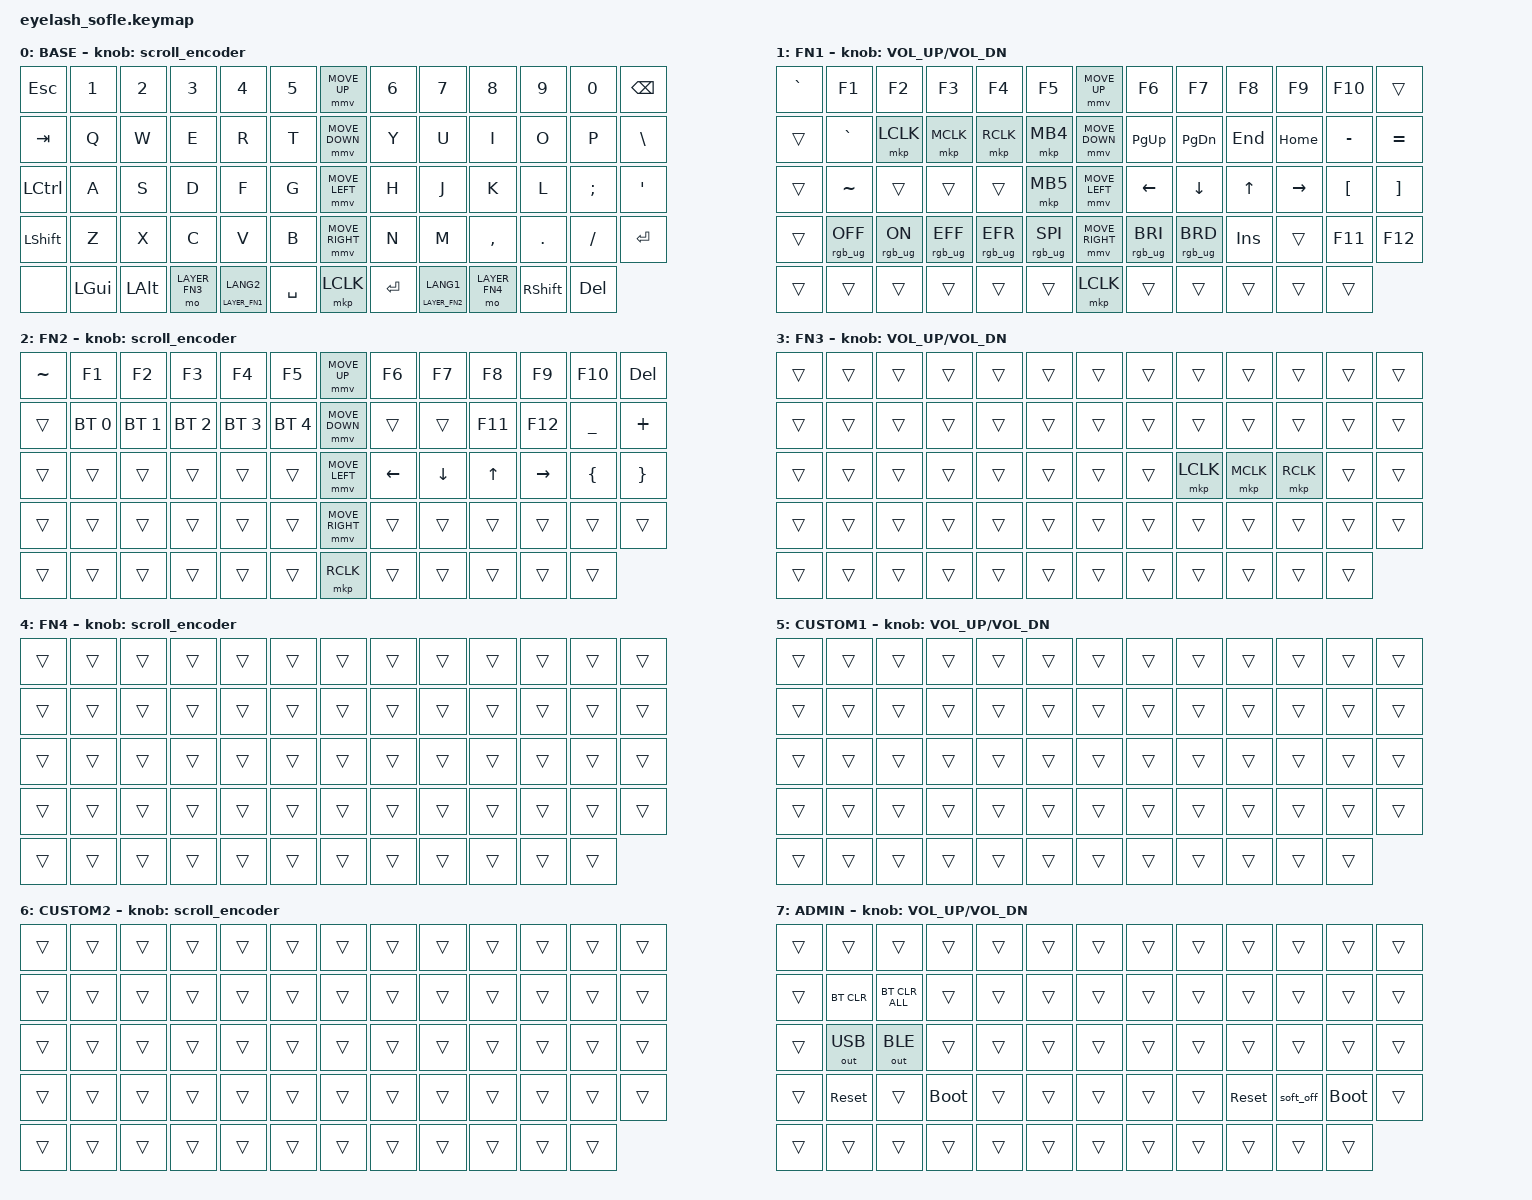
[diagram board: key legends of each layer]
#define ZMK_POINTING_DEFAULT_MOVE_VAL 1200  // 600
#define ZMK_POINTING_DEFAULT_SCRL_VAL 25   // 10

#define LAYER_BASE     0
#define LAYER_FN1      1
#define LAYER_FN2      2
#define LAYER_FN3      3
#define LAYER_FN4      4
#define LAYER_CUSTOM1  5
#define LAYER_CUSTOM2  6
#define LAYER_ADMIN    7

#include <input/processors.dtsi>
#include <zephyr/dt-bindings/input/input-event-codes.h>
#include <behaviors.dtsi>
#include <dt-bindings/zmk/bt.h>
#include <dt-bindings/zmk/keys.h>
#include <dt-bindings/zmk/outputs.h>
#include <dt-bindings/zmk/pointing.h>
#include <dt-bindings/zmk/rgb.h>

&mmv_input_listener { input-processors = <&zip_xy_scaler 2 1>; };

&msc_input_listener { input-processors = <&zip_scroll_scaler 2 1>; };

&msc {
    acceleration-exponent = <1>;      // 0
    time-to-max-speed-ms = <100>;       // 300
    delay-ms = <0>;                   // 0
};

&mmv {
    time-to-max-speed-ms = <500>;
    acceleration-exponent = <1>;
    trigger-period-ms = <16>;
};

&lt {
    flavor = "hold-preferred";
    tapping-term-ms = <200>;
};

&soft_off { hold-time-ms = <2000>; };

/ {
    scroll_encoder: scroll_encoder {
        compatible = "zmk,behavior-sensor-rotate";
        #sensor-binding-cells = <0>;
        bindings = <&msc SCRL_DOWN>, <&msc SCRL_UP>;

        tap-ms = <100>;
    };

    behaviors {
    };

    combos {
        compatible = "zmk,combos";

        softoff {
            bindings = <&soft_off>;
            key-positions = <14 28 40>;
            layers = <LAYER_ADMIN>;
        };

        admin_layer {
            bindings = <&tog LAYER_ADMIN>;
            key-positions = <53 63>;
        };
    };

    macros {
        SHIFT_MCLK: SHIFT_MCLK {
            compatible = "zmk,behavior-macro";
            #binding-cells = <0>;
            bindings =
                <&macro_press>,
                <&kp LEFT_SHIFT>,
                <&macro_press>,
                <&mkp MB3>,
                <&macro_pause_for_release>,
                <&macro_release>,
                <&kp LEFT_SHIFT &mkp MB3>;

            label = "SHIFT_MCLK";
        };
    };

    keymap {
        compatible = "zmk,keymap";

        layer0 {
            bindings = <
&kp ESC     &kp N1       &kp N2       &kp N3        &kp N4              &kp N5    &mmv MOVE_UP    &kp N6    &kp N7              &kp N8        &kp N9          &kp N0     &kp BACKSPACE
&kp TAB     &kp Q        &kp W        &kp E         &kp R               &kp T     &mmv MOVE_DOWN  &kp Y     &kp U               &kp I         &kp O           &kp P      &kp BSLH
&kp LCTRL   &kp A        &kp S        &kp D         &kp F               &kp G     &mmv MOVE_LEFT  &kp H     &kp J               &kp K         &kp L           &kp SEMI   &kp APOS
&kp LSHFT   &kp Z        &kp X        &kp C         &kp V               &kp B     &mmv MOVE_RIGHT &kp N     &kp M               &kp COMMA     &kp DOT         &kp FSLH   &kp ENTER
&none       &kp LEFT_GUI &kp LEFT_ALT &mo LAYER_FN3 &lt LAYER_FN1 LANG2 &kp SPACE &mkp LCLK       &kp ENTER &lt LAYER_FN2 LANG1 &mo LAYER_FN4 &kp RIGHT_SHIFT &kp DELETE
            >;

            sensor-bindings = <&scroll_encoder>;
            display-name = "BASE";
        };

        layer_1 {
            bindings = <
&kp GRAVE &kp F1          &kp F2         &kp F3          &kp F4          &kp F5          &mmv MOVE_UP    &kp F6          &kp F7          &kp F8     &kp F9    &kp F10          &trans
&trans    &kp GRAVE       &mkp LCLK      &mkp MCLK       &mkp RCLK       &mkp MB4        &mmv MOVE_DOWN  &kp PG_UP       &kp PG_DN       &kp END    &kp HOME  &kp MINUS        &kp EQUAL
&trans    &kp TILDE       &trans         &trans          &trans          &mkp MB5        &mmv MOVE_LEFT  &kp LEFT        &kp DOWN        &kp UP     &kp RIGHT &kp LEFT_BRACKET &kp RIGHT_BRACKET
&trans    &rgb_ug RGB_OFF &rgb_ug RGB_ON &rgb_ug RGB_EFF &rgb_ug RGB_EFR &rgb_ug RGB_SPI &mmv MOVE_RIGHT &rgb_ug RGB_BRI &rgb_ug RGB_BRD &kp INSERT &trans    &kp F11          &kp F12
&trans    &trans          &trans         &trans          &trans          &trans          &mkp LCLK       &trans          &trans          &trans     &trans    &trans
            >;

             sensor-bindings = <&inc_dec_kp C_VOLUME_UP C_VOL_DN>;
            display-name = "FN1";
        };

        layer_2 {
            bindings = <
&kp TILDE &kp F1       &kp F2       &kp F3       &kp F4       &kp F5       &mmv MOVE_UP    &kp F6   &kp F7   &kp F8  &kp F9    &kp F10   &kp DELETE
&trans    &bt BT_SEL 0 &bt BT_SEL 1 &bt BT_SEL 2 &bt BT_SEL 3 &bt BT_SEL 4 &mmv MOVE_DOWN  &trans   &trans   &kp F11 &kp F12   &kp UNDER &kp PLUS
&trans    &trans       &trans       &trans       &trans       &trans       &mmv MOVE_LEFT  &kp LEFT &kp DOWN &kp UP  &kp RIGHT &kp LBRC  &kp RBRC
&trans    &trans       &trans       &trans       &trans       &trans       &mmv MOVE_RIGHT &trans   &trans   &trans  &trans    &trans    &trans
&trans    &trans       &trans       &trans       &trans       &trans       &mkp RCLK       &trans   &trans   &trans  &trans    &trans
            >;

            display-name = "FN2";
            sensor-bindings = <&scroll_encoder>;
        };

        layer_3 {
            bindings = <
&trans &trans &trans &trans &trans &trans &trans &trans &trans    &trans    &trans    &trans &trans
&trans &trans &trans &trans &trans &trans &trans &trans &trans    &trans    &trans    &trans &trans
&trans &trans &trans &trans &trans &trans &trans &trans &mkp LCLK &mkp MCLK &mkp RCLK &trans &trans
&trans &trans &trans &trans &trans &trans &trans &trans &trans    &trans    &trans    &trans &trans
&trans &trans &trans &trans &trans &trans &trans &trans &trans    &trans    &trans    &trans
            >;

            display-name = "FN3";
            sensor-bindings = <&inc_dec_kp C_VOLUME_UP C_VOL_DN>;
        };

        layer_4 {
            bindings = <
&trans &trans &trans &trans &trans &trans &trans &trans &trans &trans &trans &trans &trans
&trans &trans &trans &trans &trans &trans &trans &trans &trans &trans &trans &trans &trans
&trans &trans &trans &trans &trans &trans &trans &trans &trans &trans &trans &trans &trans
&trans &trans &trans &trans &trans &trans &trans &trans &trans &trans &trans &trans &trans
&trans &trans &trans &trans &trans &trans &trans &trans &trans &trans &trans &trans
            >;

            display-name = "FN4";
            sensor-bindings = <&scroll_encoder>;
        };

        layer_5 {
            bindings = <
&trans &trans &trans &trans &trans &trans &trans &trans &trans &trans &trans &trans &trans
&trans &trans &trans &trans &trans &trans &trans &trans &trans &trans &trans &trans &trans
&trans &trans &trans &trans &trans &trans &trans &trans &trans &trans &trans &trans &trans
&trans &trans &trans &trans &trans &trans &trans &trans &trans &trans &trans &trans &trans
&trans &trans &trans &trans &trans &trans &trans &trans &trans &trans &trans &trans
            >;

            display-name = "CUSTOM1";
            sensor-bindings = <&inc_dec_kp C_VOLUME_UP C_VOL_DN>;
        };

        layer_6 {
            bindings = <
&trans &trans &trans &trans &trans &trans &trans &trans &trans &trans &trans &trans &trans
&trans &trans &trans &trans &trans &trans &trans &trans &trans &trans &trans &trans &trans
&trans &trans &trans &trans &trans &trans &trans &trans &trans &trans &trans &trans &trans
&trans &trans &trans &trans &trans &trans &trans &trans &trans &trans &trans &trans &trans
&trans &trans &trans &trans &trans &trans &trans &trans &trans &trans &trans &trans
            >;

            display-name = "CUSTOM2";
            sensor-bindings = <&scroll_encoder>;
        };

        layer_7 {
            bindings = <
&trans &trans       &trans         &trans      &trans &trans &trans &trans &trans &trans     &trans    &trans      &trans
&trans &bt BT_CLR   &bt BT_CLR_ALL &trans      &trans &trans &trans &trans &trans &trans     &trans    &trans      &trans
&trans &out OUT_USB &out OUT_BLE   &trans      &trans &trans &trans &trans &trans &trans     &trans    &trans      &trans
&trans &sys_reset   &trans         &bootloader &trans &trans &trans &trans &trans &sys_reset &soft_off &bootloader &trans
&trans &trans       &trans         &trans      &trans &trans &trans &trans &trans &trans     &trans    &trans
            >;

            display-name = "ADMIN";
            sensor-bindings = <&inc_dec_kp C_VOLUME_UP C_VOL_DN>;
        };
    };
};
